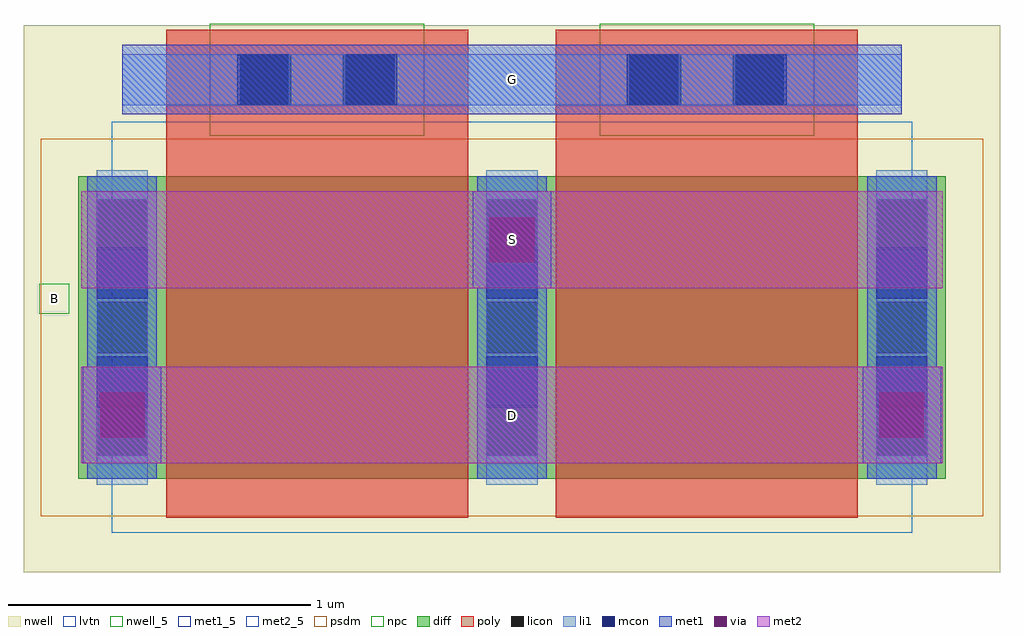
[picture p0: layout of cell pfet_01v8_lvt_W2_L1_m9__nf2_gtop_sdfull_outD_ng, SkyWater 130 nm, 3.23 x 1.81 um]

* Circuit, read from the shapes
.subckt pfet_01v8_lvt_W2_L1_m9__nf2_gtop_sdfull_outD_ng B D G S
XM1 S G D B sky130_fd_pr__pfet_01v8_lvt w=1 l=1 m=2
.ends

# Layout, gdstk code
import gdstk
lib = gdstk.Library(unit=1e-6, precision=1e-09)
def R(c, l, rs):  # rectangles x0, y0, x1, y1
    for r in rs: c.add(gdstk.rectangle(r[:2], r[2:], *l))
def A(c, l, x, y, w, h, nx, ny, dx, dy):  # array of equal rectangles
    R(c, l, [(x+i*dx, y+j*dy, x+i*dx+w, y+j*dy+h) for i in range(nx) for j in range(ny)])
nwell_5 = (64, 5)
nwell = (64, 20)
diff = (65, 20)
poly = (66, 20)
licon = (66, 44)
li1 = (67, 20)
mcon = (67, 44)
met1_5 = (68, 5)
met1 = (68, 20)
via = (68, 44)
met2_5 = (69, 5)
met2 = (69, 20)
psdm = (94, 20)
npc = (95, 20)
lvtn = (125, 44)

sky130_fd_pr__pfet_01v8_ = lib.new_cell('sky130_fd_pr__pfet_01v8_lvt_XJP8NB')
R(sky130_fd_pr__pfet_01v8_, nwell, [(-1.615,-0.99,1.615,0.82)])
R(sky130_fd_pr__pfet_01v8_, diff, [(-1.435,-0.68,1.435,0.32)])
R(sky130_fd_pr__pfet_01v8_, poly, [(-1.145,-0.81,-0.145,0.805), (0.145,-0.81,1.145,0.805)])
A(sky130_fd_pr__pfet_01v8_, licon, -1.375, -0.605, 0.17, 0.17, 3, 3, 1.29, 0.34)
R(sky130_fd_pr__pfet_01v8_, licon, [(-0.9,0.555,-0.73,0.725), (-0.56,0.555,-0.39,0.725), (0.39,0.555,0.56,0.725), (0.73,0.555,0.9,0.725)])
A(sky130_fd_pr__pfet_01v8_, li1, -1.375, -0.7, 0.17, 1.04, 3, 1, 1.29, 0)
R(sky130_fd_pr__pfet_01v8_, li1, [(-1.29,0.555,1.29,0.725)])
A(sky130_fd_pr__pfet_01v8_, mcon, -1.375, -0.445, 0.17, 0.17, 3, 2, 1.29, 0.36)
R(sky130_fd_pr__pfet_01v8_, mcon, [(-0.91,0.555,-0.74,0.725), (-0.55,0.555,-0.38,0.725), (0.38,0.555,0.55,0.725), (0.74,0.555,0.91,0.725)])
A(sky130_fd_pr__pfet_01v8_, met1, -1.405, -0.68, 0.23, 1, 3, 1, 1.29, 0)
R(sky130_fd_pr__pfet_01v8_, met1, [(-1.125,0.525,-0.165,0.555), (0.165,0.525,1.125,0.555), (-1.29,0.555,1.29,0.725), (-1.125,0.725,-0.165,0.755), (0.165,0.725,1.125,0.755)])
R(sky130_fd_pr__pfet_01v8_, psdm, [(-1.56,-0.805,1.56,0.445)])
R(sky130_fd_pr__pfet_01v8_, npc, [(-1,0.455,-0.29,0.825), (0.29,0.455,1,0.825)])
R(sky130_fd_pr__pfet_01v8_, lvtn, [(-1.325,-0.86,1.325,0.5)])
sky130_fd_pr__pfet_01v8_.add(gdstk.Label('D0', (-1.29,-0.18), layer=67, texttype=5))
sky130_fd_pr__pfet_01v8_.add(gdstk.Label('G', (0.645,0.64), layer=67, texttype=5))
sky130_fd_pr__pfet_01v8_.add(gdstk.Label('G', (-0.645,0.64), layer=67, texttype=5))
sky130_fd_pr__pfet_01v8_.add(gdstk.Label('S1', (0,-0.18), layer=67, texttype=5))

pfet_01v8_lvt_w2_l1_m9__ = lib.new_cell('pfet_01v8_lvt_W2_L1_m9__nf2_gtop_sdfull_outD_ng')
R(pfet_01v8_lvt_w2_l1_m9__, nwell_5, [(0.05,0.855,0.15,0.955)])
R(pfet_01v8_lvt_w2_l1_m9__, nwell, [(0.05,0.855,0.15,0.955)])
R(pfet_01v8_lvt_w2_l1_m9__, met1_5, [(0.325,1.515,2.905,1.745)])
R(pfet_01v8_lvt_w2_l1_m9__, met1, [(0.195,0.36,0.455,0.68), (2.775,0.36,3.035,0.68), (1.485,0.94,1.745,1.26), (0.325,1.515,2.905,1.745)])
R(pfet_01v8_lvt_w2_l1_m9__, via, [(0.25,0.445,0.4,0.595), (2.83,0.445,2.98,0.595), (1.54,1.025,1.69,1.175)])
R(pfet_01v8_lvt_w2_l1_m9__, met2_5, [(0.19,0.36,3.04,0.68), (0.19,0.94,3.04,1.26)])
R(pfet_01v8_lvt_w2_l1_m9__, met2, [(0.19,0.36,3.04,0.68), (0.19,0.94,3.04,1.26)])
pfet_01v8_lvt_w2_l1_m9__.add(gdstk.Reference(sky130_fd_pr__pfet_01v8_, (1.615,0.99)))
pfet_01v8_lvt_w2_l1_m9__.add(gdstk.Label('S', (1.615,1.1), layer=69, texttype=5))
pfet_01v8_lvt_w2_l1_m9__.add(gdstk.Label('D', (1.615,0.52), layer=69, texttype=5))
pfet_01v8_lvt_w2_l1_m9__.add(gdstk.Label('G', (1.615,1.63), layer=68, texttype=5))
pfet_01v8_lvt_w2_l1_m9__.add(gdstk.Label('B', (0.1,0.905), layer=64, texttype=5))

lib.write_gds('pfet_01v8_lvt_W2_L1_m9__nf2_gtop_sdfull_outD_ng.gds')
